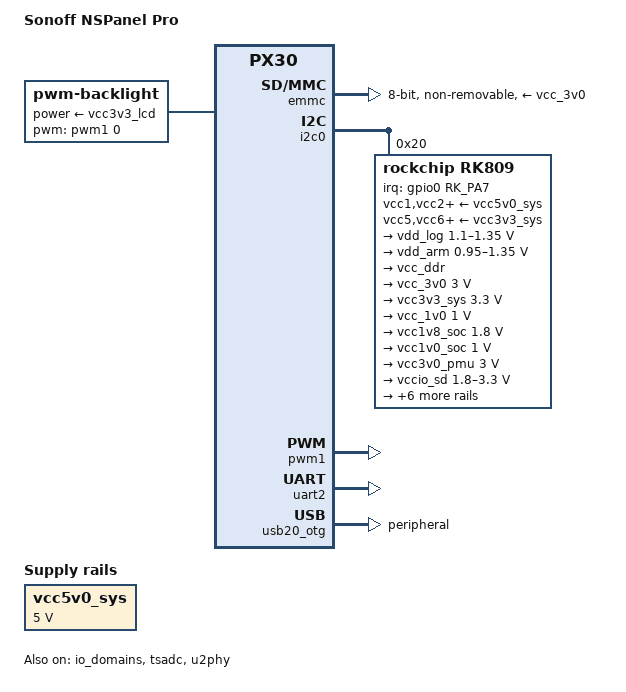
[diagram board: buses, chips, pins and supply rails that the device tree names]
// SPDX-License-Identifier: (GPL-2.0+ OR MIT)

/dts-v1/;
#include <dt-bindings/gpio/gpio.h>
#include <dt-bindings/interrupt-controller/irq.h>
#include <dt-bindings/pinctrl/rockchip.h>
#include "px30.dtsi"

/ {
	model = "Sonoff NSPanel Pro";
	compatible = "itead,nspanel-pro", "rockchip,px30";

	aliases {
		mmc0 = &emmc;
	};

	chosen {
		stdout-path = "serial2:1500000n8";
	};

	backlight: backlight {
		compatible = "pwm-backlight";
		pwms = <&pwm1 0 25000 0>;
		power-supply = <&vcc3v3_lcd>;
	};

	vcc5v0_sys: regulator-vcc5v0-sys {
		compatible = "regulator-fixed";
		regulator-name = "vcc5v0_sys";
		regulator-always-on;
		regulator-boot-on;
		regulator-min-microvolt = <5000000>;
		regulator-max-microvolt = <5000000>;
	};
};

&cpu0 {
	cpu-supply = <&vdd_arm>;
};

&cpu1 {
	cpu-supply = <&vdd_arm>;
};

&cpu2 {
	cpu-supply = <&vdd_arm>;
};

&cpu3 {
	cpu-supply = <&vdd_arm>;
};

&emmc {
	bus-width = <8>;
	cap-mmc-highspeed;
	mmc-hs200-1_8v;
	non-removable;
	vmmc-supply = <&vcc_3v0>;
	vqmmc-supply = <&vcc1v8_soc>;
	status = "okay";
};

&i2c0 {
	status = "okay";

	rk809: pmic@20 {
		compatible = "rockchip,rk809";
		reg = <0x20>;
		interrupt-parent = <&gpio0>;
		interrupts = <RK_PA7 IRQ_TYPE_LEVEL_LOW>;
		pinctrl-names = "default";
		pinctrl-0 = <&pmic_int>;
		system-power-controller;
		wakeup-source;
		#clock-cells = <0>;
		clock-output-names = "xin32k";

		vcc1-supply = <&vcc5v0_sys>;
		vcc2-supply = <&vcc5v0_sys>;
		vcc3-supply = <&vcc5v0_sys>;
		vcc4-supply = <&vcc5v0_sys>;
		vcc5-supply = <&vcc3v3_sys>;
		vcc6-supply = <&vcc3v3_sys>;
		vcc7-supply = <&vcc3v3_sys>;
		vcc8-supply = <&vcc3v3_sys>;
		vcc9-supply = <&vcc5v0_sys>;

		regulators {
			vdd_log: DCDC_REG1 {
				regulator-name = "vdd_log";
				regulator-min-microvolt = <1100000>;
				regulator-max-microvolt = <1350000>;
				regulator-ramp-delay = <6001>;
				regulator-always-on;
				regulator-boot-on;
			};

			vdd_arm: DCDC_REG2 {
				regulator-name = "vdd_arm";
				regulator-min-microvolt = <950000>;
				regulator-max-microvolt = <1350000>;
				regulator-ramp-delay = <6001>;
				regulator-always-on;
				regulator-boot-on;
			};

			vcc_ddr: DCDC_REG3 {
				regulator-name = "vcc_ddr";
				regulator-always-on;
				regulator-boot-on;
			};

			vcc_3v0: DCDC_REG4 {
				regulator-name = "vcc_3v0";
				regulator-min-microvolt = <3000000>;
				regulator-max-microvolt = <3000000>;
				regulator-always-on;
				regulator-boot-on;
			};

			vcc3v3_sys: DCDC_REG5 {
				regulator-name = "vcc3v3_sys";
				regulator-min-microvolt = <3300000>;
				regulator-max-microvolt = <3300000>;
				regulator-always-on;
				regulator-boot-on;
			};

			vcc_1v0: LDO_REG1 {
				regulator-name = "vcc_1v0";
				regulator-min-microvolt = <1000000>;
				regulator-max-microvolt = <1000000>;
				regulator-always-on;
				regulator-boot-on;
			};

			vcc1v8_soc: LDO_REG2 {
				regulator-name = "vcc1v8_soc";
				regulator-min-microvolt = <1800000>;
				regulator-max-microvolt = <1800000>;
				regulator-always-on;
				regulator-boot-on;
			};

			vcc1v0_soc: LDO_REG3 {
				regulator-name = "vcc1v0_soc";
				regulator-min-microvolt = <1000000>;
				regulator-max-microvolt = <1000000>;
				regulator-always-on;
				regulator-boot-on;
			};

			vcc3v0_pmu: LDO_REG4 {
				regulator-name = "vcc3v0_pmu";
				regulator-min-microvolt = <3000000>;
				regulator-max-microvolt = <3000000>;
				regulator-always-on;
				regulator-boot-on;
			};

			vccio_sd: LDO_REG5 {
				regulator-name = "vccio_sd";
				regulator-min-microvolt = <1800000>;
				regulator-max-microvolt = <3300000>;
				regulator-always-on;
				regulator-boot-on;
			};

			vcc_sd: LDO_REG6 {
				regulator-name = "vcc_sd";
				regulator-min-microvolt = <3300000>;
				regulator-max-microvolt = <3300000>;
			};

			vcc2v8_dvp: LDO_REG7 {
				regulator-name = "vcc2v8_dvp";
				regulator-min-microvolt = <3300000>;
				regulator-max-microvolt = <3300000>;
				regulator-always-on;
				regulator-boot-on;
			};

			vcc1v8_dvp: LDO_REG8 {
				regulator-name = "vcc1v8_dvp";
				regulator-min-microvolt = <1800000>;
				regulator-max-microvolt = <1800000>;
				regulator-always-on;
				regulator-boot-on;
			};

			vdd1v5_dvp: LDO_REG9 {
				regulator-name = "vdd1v5_dvp";
				regulator-min-microvolt = <3000000>;
				regulator-max-microvolt = <3000000>;
				regulator-always-on;
				regulator-boot-on;
			};

			vcc5v0_host: SWITCH_REG1 {
				regulator-name = "vcc5v0_host";
				regulator-always-on;
				regulator-boot-on;
			};

			vcc3v3_lcd: SWITCH_REG2 {
				regulator-name = "vcc3v3_lcd";
				regulator-boot-on;
			};
		};
	};
};

&io_domains {
	vccio1-supply = <&vcc1v8_soc>;
	vccio2-supply = <&vccio_sd>;
	vccio3-supply = <&vcc_3v0>;
	vccio4-supply = <&vcc3v0_pmu>;
	vccio5-supply = <&vcc_3v0>;
	status = "okay";
};

&pinctrl {
	pmic {
		pmic_int: pmic-int {
			rockchip,pins = <0 RK_PA7 RK_FUNC_GPIO &pcfg_pull_up>;
		};
	};
};

&pmu_io_domains {
	pmuio1-supply = <&vcc3v0_pmu>;
	pmuio2-supply = <&vcc3v0_pmu>;
	status = "okay";
};

&pwm1 {
	status = "okay";
};

&tsadc {
	status = "okay";
};

&u2phy {
	status = "okay";

	u2phy_otg: otg-port {
		status = "okay";
	};
};

&uart2 {
	status = "okay";
};

&usb20_otg {
	dr_mode = "peripheral";
	status = "okay";
};
